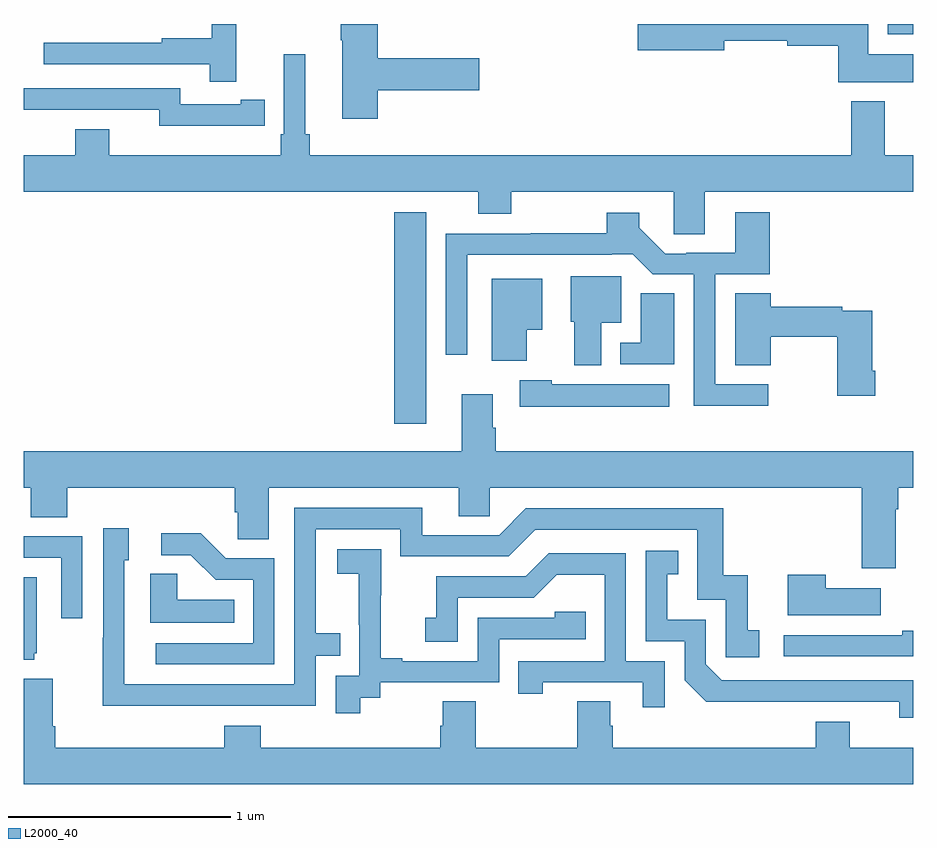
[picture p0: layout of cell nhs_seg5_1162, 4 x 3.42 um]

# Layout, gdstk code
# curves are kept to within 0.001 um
import gdstk
lib = gdstk.Library(unit=1e-6, precision=1e-09)
def R(c, l, rs):  # rectangles x0, y0, x1, y1
    for r in rs: c.add(gdstk.rectangle(r[:2], r[2:], *l))
def P(c, l, *ps):  # polygons
    for p in ps: c.add(gdstk.Polygon(p, *l))
L2000_40 = (2000, 40)

nhs_seg5_1162 = lib.new_cell('nhs_seg5_1162')
R(nhs_seg5_1162, L2000_40, [(182.666,905.001,182.809,905.953), (184.886,906.752,185,906.799)])
P(nhs_seg5_1162, L2000_40, [(185,906.664),(184.798,906.664),(184.798,906.799),(183.762,906.799),(183.762,906.682),(184.15,906.682),(184.15,906.724),(184.433,906.724),(184.433,906.701),(184.664,906.701),(184.664,906.536),(185,906.536)],
  [(182.591,906.502),(183.049,906.502),(183.049,906.644),(182.591,906.644),(182.591,906.799),(182.425,906.799),(182.425,906.727),(182.432,906.727),(182.432,906.372),(182.591,906.372)],
  [(181.955,906.799),(181.845,906.799),(181.845,906.734),(181.621,906.734),(181.621,906.714),(181.089,906.714),(181.089,906.618),(181.837,906.618),(181.837,906.54),(181.955,906.54)],
  [(182.285,906.304),(182.266,906.304),(182.266,906.664),(182.169,906.664),(182.169,906.304),(182.156,906.304),(182.156,906.208),(181.384,906.208),(181.384,906.325),(181.232,906.325),(181.232,906.208),(181,906.208),(181,906.044),(183.044,906.044),(183.044,905.945),(183.192,905.945),(183.192,906.044),(183.924,906.044),(183.924,905.854),(184.063,905.854),(184.063,906.044),(185,906.044),(185,906.208),(184.873,906.208),(184.873,906.451),(184.721,906.451),(184.721,906.208),(182.285,906.208)],
  [(181.976,906.342),(182.084,906.342),(182.084,906.458),(181.976,906.458),(181.976,906.438),(181.704,906.438),(181.704,906.51),(181,906.51),(181,906.413),(181.148,906.413),(181.148,906.414),(181.608,906.414),(181.608,906.341),(181.976,906.341)],
  [(184.348,905.178),(184.11,905.178),(184.11,905.673),(184.355,905.673),(184.355,905.953),(184.199,905.953),(184.199,905.769),(183.979,905.769),(183.979,905.766),(183.885,905.766),(183.769,905.882),(183.769,905.95),(183.622,905.95),(183.622,905.858),(183.28,905.858),(183.28,905.856),(182.898,905.856),(182.898,905.31),(182.994,905.31),(182.994,905.76),(183.644,905.76),(183.644,905.763),(183.74,905.763),(183.83,905.673),(184.014,905.673),(184.014,905.081),(184.348,905.081)],
  [(183.598,905.456),(183.688,905.456),(183.688,905.665),(183.461,905.665),(183.461,905.46),(183.476,905.46),(183.476,905.264),(183.598,905.264)],
  [(183.262,905.423),(183.331,905.423),(183.331,905.653),(183.104,905.653),(183.104,905.283),(183.262,905.283)],
  [(183.925,905.588),(183.776,905.588),(183.776,905.364),(183.683,905.364),(183.683,905.268),(183.925,905.268)],
  [(184.829,905.239),(184.816,905.239),(184.816,905.508),(184.682,905.508),(184.682,905.528),(184.36,905.528),(184.36,905.588),(184.199,905.588),(184.199,905.263),(184.36,905.263),(184.36,905.392),(184.658,905.392),(184.658,905.127),(184.829,905.127)],
  [(183.904,905.179),(183.375,905.179),(183.375,905.197),(183.231,905.197),(183.231,905.078),(183.904,905.078)],
  [(181,904.712),(181.031,904.712),(181.031,904.579),(181.196,904.579),(181.196,904.712),(181.949,904.712),(181.949,904.603),(181.962,904.603),(181.962,904.48),(182.101,904.48),(182.101,904.712),(182.957,904.712),(182.957,904.585),(183.096,904.585),(183.096,904.712),(184.769,904.712),(184.769,904.35),(184.921,904.35),(184.921,904.616),(184.934,904.616),(184.934,904.712),(185,904.712),(185,904.876),(183.122,904.876),(183.122,904.982),(183.109,904.982),(183.109,905.134),(182.969,905.134),(182.969,904.876),(181,904.876)],
  [(181.817,903.732),(182.313,903.732),(182.313,903.957),(182.423,903.957),(182.423,904.058),(182.313,904.058),(182.313,904.527),(182.694,904.527),(182.694,904.404),(183.18,904.404),(183.3,904.524),(184.029,904.524),(184.029,904.209),(184.158,904.209),(184.158,903.951),(184.309,903.951),(184.309,904.071),(184.256,904.071),(184.256,904.318),(184.145,904.318),(184.145,904.62),(183.258,904.62),(183.138,904.5),(182.791,904.5),(182.791,904.623),(182.217,904.623),(182.217,903.828),(181.452,903.828),(181.452,904.386),(181.471,904.386),(181.471,904.531),(181.356,904.531),(181.356,904.037),(181.354,904.037),(181.354,903.731)],
  [(182.127,904.395),(181.908,904.395),(181.795,904.508),(181.617,904.508),(181.617,904.41),(181.751,904.41),(181.862,904.299),(182.031,904.299),(182.031,904.014),(181.593,904.014),(181.593,903.918),(182.127,903.918)],
  [(181.263,904.494),(181,904.494),(181,904.398),(181.167,904.398),(181.167,904.125),(181.263,904.125)],
  [(182.512,903.769),(182.604,903.769),(182.604,903.837),(183.138,903.837),(183.138,904.032),(183.527,904.032),(183.527,904.155),(183.387,904.155),(183.387,904.128),(183.042,904.128),(183.042,903.933),(182.701,903.933),(182.701,903.946),(182.606,903.946),(182.606,904.229),(182.607,904.229),(182.607,904.435),(182.409,904.435),(182.409,904.325),(182.507,904.325),(182.507,904.097),(182.508,904.097),(182.508,903.867),(182.403,903.867),(182.403,903.699),(182.512,903.699)],
  [(185,903.846),(184.14,903.846),(184.068,903.918),(184.068,904.119),(183.895,904.119),(183.895,904.323),(183.944,904.323),(183.944,904.429),(183.798,904.429),(183.798,904.023),(183.972,904.023),(183.972,903.846),(184.07,903.749),(184.938,903.75),(184.938,903.677),(185,903.677)],
  [(183.882,903.933),(183.708,903.933),(183.708,904.419),(183.362,904.419),(183.257,904.314),(182.854,904.314),(182.854,904.129),(182.805,904.129),(182.805,904.02),(182.952,904.02),(182.952,904.218),(183.294,904.218),(183.398,904.322),(183.612,904.322),(183.612,903.933),(183.223,903.933),(183.223,903.786),(183.334,903.786),(183.334,903.837),(183.785,903.837),(183.785,903.726),(183.882,903.726)],
  [(181.946,904.21),(181.689,904.21),(181.689,904.325),(181.568,904.325),(181.568,904.106),(181.946,904.106)],
  [(184.855,904.261),(184.607,904.261),(184.607,904.321),(184.436,904.321),(184.436,904.139),(184.855,904.139)],
  [(181.046,903.969),(181.057,903.969),(181.057,904.309),(181,904.309),(181,903.938),(181.046,903.938)],
  [(185,904.07),(184.951,904.07),(184.951,904.05),(184.419,904.05),(184.419,903.954),(185,903.954)],
  [(185,903.544),(184.714,903.544),(184.714,903.661),(184.562,903.661),(184.562,903.544),(183.65,903.544),(183.65,903.642),(183.637,903.642),(183.637,903.752),(183.49,903.752),(183.49,903.544),(183.033,903.544),(183.033,903.752),(182.885,903.752),(182.885,903.642),(182.873,903.642),(182.873,903.544),(182.066,903.544),(182.066,903.643),(181.901,903.643),(181.901,903.544),(181.142,903.544),(181.142,903.64),(181.129,903.64),(181.129,903.853),(181,903.853),(181,903.38),(185,903.38)])

lib.write_gds('nhs_seg5_1162.gds')
